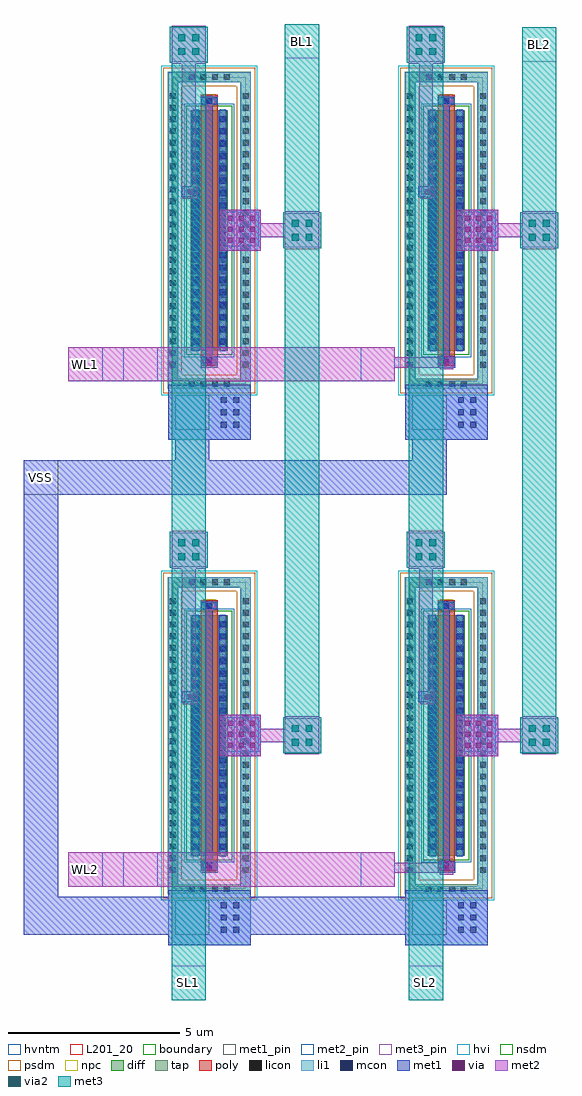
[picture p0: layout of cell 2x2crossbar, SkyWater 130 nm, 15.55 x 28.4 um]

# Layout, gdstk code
import gdstk
lib = gdstk.Library(unit=1e-6, precision=1e-09)
def R(c, l, rs):  # rectangles x0, y0, x1, y1
    for r in rs: c.add(gdstk.rectangle(r[:2], r[2:], *l))
def A(c, l, x, y, w, h, nx, ny, dx, dy):  # array of equal rectangles
    R(c, l, [(x+i*dx, y+j*dy, x+i*dx+w, y+j*dy+h) for i in range(nx) for j in range(ny)])
diff = (65, 20)
tap = (65, 44)
poly = (66, 20)
licon = (66, 44)
li1 = (67, 20)
mcon = (67, 44)
met1_pin = (68, 16)
met1 = (68, 20)
via = (68, 44)
met2_pin = (69, 16)
met2 = (69, 20)
via2 = (69, 44)
met3_pin = (70, 16)
met3 = (70, 20)
hvi = (75, 20)
nsdm = (93, 44)
psdm = (94, 20)
npc = (95, 20)
hvntm = (125, 20)
L201_20 = (201, 20)
boundary = (235, 4)

sky130_fd_pr_reram__rera = lib.new_cell('sky130_fd_pr_reram__reram_cell_X')
R(sky130_fd_pr_reram__rera, met1_pin, [(-0.15,-2.46,0.85,-1.46)])
R(sky130_fd_pr_reram__rera, met1, [(-0.15,-2.46,0.85,-1.46)])
A(sky130_fd_pr_reram__rera, via, -0.045, -2.355, 0.15, 0.15, 3, 3, 0.32, 0.32)
R(sky130_fd_pr_reram__rera, met2_pin, [(-0.15,-2.46,0.85,-1.46)])
R(sky130_fd_pr_reram__rera, met2, [(-0.15,-2.46,0.85,-1.46)])
R(sky130_fd_pr_reram__rera, L201_20, [(-0.15,-2.46,0.85,-1.46)])
sky130_fd_pr_reram__rera.add(gdstk.Label('TE', (0.35,-1.96), layer=69, texttype=5))
sky130_fd_pr_reram__rera.add(gdstk.Label('BE', (0.35,-1.96), layer=68, texttype=5))

sky130_fd_pr__nfet_g5v0d = lib.new_cell('sky130_fd_pr__nfet_g5v0d10v5_QEHWXS')
R(sky130_fd_pr__nfet_g5v0d, diff, [(-0.54,-3.5,0.54,3.5)])
R(sky130_fd_pr__nfet_g5v0d, tap, [(-1.21,-4.61,1.21,-4.32), (-1.21,-4.32,-0.92,4.32), (0.92,-4.32,1.21,4.32), (-1.21,4.32,1.21,4.61)])
R(sky130_fd_pr__nfet_g5v0d, poly, [(-0.25,-3.94,0.25,3.94)])
A(sky130_fd_pr__nfet_g5v0d, licon, -0.595, -4.55, 0.17, 0.17, 4, 2, 0.34, 8.93)
A(sky130_fd_pr__nfet_g5v0d, licon, -1.15, -3.995, 0.17, 0.17, 1, 24, 0, 0.34)
A(sky130_fd_pr__nfet_g5v0d, licon, 0.98, -3.995, 0.17, 0.17, 1, 24, 0, 0.34)
A(sky130_fd_pr__nfet_g5v0d, licon, -0.48, -3.315, 0.17, 0.17, 1, 20, 0, 0.34)
A(sky130_fd_pr__nfet_g5v0d, licon, 0.31, -3.315, 0.17, 0.17, 1, 20, 0, 0.34)
R(sky130_fd_pr__nfet_g5v0d, licon, [(-0.085,-3.86,0.085,-3.69), (-0.085,3.69,0.085,3.86)])
R(sky130_fd_pr__nfet_g5v0d, li1, [(-1.15,-4.55,1.15,-4.38), (-1.15,-4.38,-0.98,4.38), (0.98,-4.38,1.15,4.38), (-0.25,-3.86,0.25,-3.69), (-0.48,-3.52,-0.31,3.52), (0.31,-3.52,0.48,3.52), (-0.25,3.69,0.25,3.86), (-1.15,4.38,1.15,4.55)])
A(sky130_fd_pr__nfet_g5v0d, mcon, -0.48, -3.325, 0.17, 0.17, 1, 19, 0, 0.36)
A(sky130_fd_pr__nfet_g5v0d, mcon, 0.31, -3.325, 0.17, 0.17, 1, 19, 0, 0.36)
R(sky130_fd_pr__nfet_g5v0d, mcon, [(-0.085,-3.86,0.085,-3.69), (-0.085,3.69,0.085,3.86)])
R(sky130_fd_pr__nfet_g5v0d, met1, [(-0.23,-3.89,0.23,-3.66), (-0.51,-3.5,-0.28,3.5), (0.28,-3.5,0.51,3.5), (-0.23,3.66,0.23,3.89)])
R(sky130_fd_pr__nfet_g5v0d, hvi, [(-1.395,-4.795,1.395,4.795)])
R(sky130_fd_pr__nfet_g5v0d, nsdm, [(-0.665,-3.625,0.665,3.625)])
R(sky130_fd_pr__nfet_g5v0d, psdm, [(-1.335,-4.735,1.335,-4.195), (-1.335,-4.195,-0.795,4.195), (0.795,-4.195,1.335,4.195), (-1.335,4.195,1.335,4.735)])
R(sky130_fd_pr__nfet_g5v0d, npc, [(-0.185,-3.96,0.185,-3.59), (-0.185,3.59,0.185,3.96)])
R(sky130_fd_pr__nfet_g5v0d, hvntm, [(-0.725,-3.685,0.725,3.685)])
R(sky130_fd_pr__nfet_g5v0d, boundary, [(-1.06,-4.46,1.06,4.46)])

c_1t1r = lib.new_cell('1T1R')
R(c_1t1r, li1, [(-0.5,2.1,1.9,3.8), (-0.5,3.8,-0.2,12.5), (1.6,3.8,1.9,12.5), (-0.5,12.5,1.9,12.8)])
A(c_1t1r, mcon, 1.035, 2.455, 0.17, 0.17, 1, 3, 0, 0.36)
A(c_1t1r, mcon, 1.395, 2.455, 0.17, 0.17, 1, 3, 0, 0.36)
R(c_1t1r, met1_pin, [(-0.3,2.4,0.7,3.4)])
R(c_1t1r, met1, [(-0.5,2.1,1.9,3.7), (0.45,4.2,0.95,4.5), (0.6,4.5,0.8,12.1), (1,7.6,2.2,8.8), (-0.12,9.16,0.41,9.48)])
R(c_1t1r, via, [(0.625,4.275,0.775,4.425), (0.07,9.245,0.22,9.395)])
R(c_1t1r, met2_pin, [(-1.8,3.8,-0.8,4.8)])
R(c_1t1r, met2, [(-1.8,3.8,-0.8,4.2), (0.5,4.15,0.9,4.2), (-1.8,4.2,0.9,4.5), (-1.8,4.5,-0.8,4.8), (0.5,4.5,0.9,4.55), (1,7.6,2.2,8), (2.9,7.65,3.9,8), (1,8,3.9,8.4), (1,8.4,2.2,8.8), (2.9,8.4,3.9,8.75), (-0.07,9.11,0.36,9.2), (-0.1,9.2,0.36,9.53), (-0.1,9.53,0.3,13.05), (-0.4,13.05,0.6,14.15)])
R(c_1t1r, via2, [(3.1,7.9,3.3,8.1), (3.5,7.9,3.7,8.1), (3.1,8.3,3.3,8.5), (3.5,8.3,3.7,8.5), (-0.2,13.3,0,13.5), (0.2,13.3,0.4,13.5), (-0.2,13.7,0,13.9), (0.2,13.7,0.4,13.9)])
R(c_1t1r, met3_pin, [(2.9,7.7,3.9,8.7), (-0.4,13.1,0.6,14.1)])
R(c_1t1r, met3, [(2.85,7.675,3.95,8.725), (-0.45,13.075,0.65,14.125)])
c_1t1r.add(gdstk.Reference(sky130_fd_pr_reram__rera, (1.28,10.19)))
c_1t1r.add(gdstk.Reference(sky130_fd_pr__nfet_g5v0d, (0.695,8.195)))
c_1t1r.add(gdstk.Label('SL', (0.1,13.6), layer=70, texttype=5))
c_1t1r.add(gdstk.Label('VSS', (0.2,2.9), layer=68, texttype=5))
c_1t1r.add(gdstk.Label('WL', (-1.3,4.3), layer=69, texttype=5))
c_1t1r.add(gdstk.Label('BL', (3.4,8.2), layer=70, texttype=5))

c_2x2crossbar = lib.new_cell('2x2crossbar')
R(c_2x2crossbar, met1_pin, [(-3.6,-0.2,-2.6,0.8)])
R(c_2x2crossbar, met1, [(-3.6,-13,8.7,-11.9), (-3.6,-11.9,-2.6,-0.2), (-3.6,-0.2,8.7,0.8), (0.8,0.8,1.8,2.7), (7.7,0.8,8.7,2.7)])
R(c_2x2crossbar, met2_pin, [(-2.3,-11.6,-1.3,-10.6), (-2.3,3.1,-1.3,4.1)])
R(c_2x2crossbar, met2, [(-2.3,-11.6,7.2,-10.6), (-2.3,3.1,7.2,4.1)])
R(c_2x2crossbar, met3_pin, [(0.7,-14.9,1.7,-13.9), (7.6,-14.9,8.6,-13.9), (10.9,12.4,11.9,13.4), (4,12.5,5,13.5)])
R(c_2x2crossbar, met3, [(0.7,-14.9,1.7,13.4), (7.6,-14.9,8.6,13.4), (4,-7.7,5,13.5), (10.9,-7.7,11.9,13.4)])
c_2x2crossbar.add(gdstk.Reference(c_1t1r, (8,-15.4)))
c_2x2crossbar.add(gdstk.Reference(c_1t1r, (1.1,-15.4)))
c_2x2crossbar.add(gdstk.Reference(c_1t1r, (8,-0.7)))
c_2x2crossbar.add(gdstk.Reference(c_1t1r, (1.1,-0.7)))
c_2x2crossbar.add(gdstk.Label('BL2', (11.4,12.9), layer=70, texttype=5))
c_2x2crossbar.add(gdstk.Label('BL1', (4.5,13), layer=70, texttype=5))
c_2x2crossbar.add(gdstk.Label('VSS', (-3.1,0.3), layer=68, texttype=5))
c_2x2crossbar.add(gdstk.Label('WL1', (-1.8,3.6), layer=69, texttype=5))
c_2x2crossbar.add(gdstk.Label('WL2', (-1.8,-11.1), layer=69, texttype=5))
c_2x2crossbar.add(gdstk.Label('SL1', (1.2,-14.4), layer=70, texttype=5))
c_2x2crossbar.add(gdstk.Label('SL2', (8.1,-14.4), layer=70, texttype=5))

lib.write_gds('2x2crossbar.gds')
